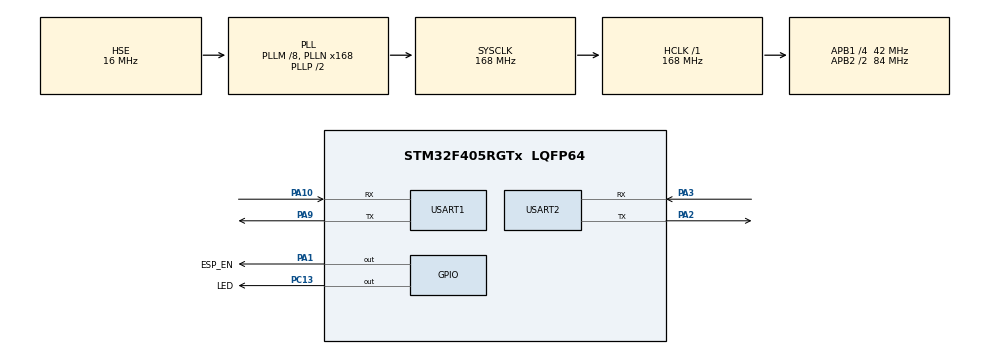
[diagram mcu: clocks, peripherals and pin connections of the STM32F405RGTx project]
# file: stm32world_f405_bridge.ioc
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Dma.Request0=USART1_RX
Dma.Request1=USART2_RX
Dma.USART1_RX.0.Direction=DMA_PERIPH_TO_MEMORY
Dma.USART1_RX.0.FIFOMode=DMA_FIFOMODE_DISABLE
Dma.USART1_RX.0.Instance=DMA2_Stream2
Dma.USART1_RX.0.MemDataAlignment=DMA_MDATAALIGN_BYTE
Dma.USART1_RX.0.MemInc=DMA_MINC_ENABLE
Dma.USART1_RX.0.Mode=DMA_CIRCULAR
Dma.USART1_RX.0.PeriphDataAlignment=DMA_PDATAALIGN_BYTE
Dma.USART1_RX.0.PeriphInc=DMA_PINC_DISABLE
Dma.USART1_RX.0.Priority=DMA_PRIORITY_LOW
Dma.USART2_RX.1.Direction=DMA_PERIPH_TO_MEMORY
Dma.USART2_RX.1.FIFOMode=DMA_FIFOMODE_DISABLE
Dma.USART2_RX.1.Instance=DMA1_Stream5
Dma.USART2_RX.1.MemDataAlignment=DMA_MDATAALIGN_BYTE
Dma.USART2_RX.1.MemInc=DMA_MINC_ENABLE
Dma.USART2_RX.1.Mode=DMA_CIRCULAR
Dma.USART2_RX.1.PeriphDataAlignment=DMA_PDATAALIGN_BYTE
Dma.USART2_RX.1.PeriphInc=DMA_PINC_DISABLE
Dma.USART2_RX.1.Priority=DMA_PRIORITY_LOW
Mcu.Family=STM32F4
Mcu.Name=STM32F405RGTx
Mcu.Package=LQFP64
NVIC.DMA1_Stream5_IRQn=true\:0\:0\:false\:false\:true\:false\:true\:true
NVIC.DMA2_Stream2_IRQn=true\:0\:0\:false\:false\:true\:false\:true\:true
NVIC.PriorityGroup=NVIC_PRIORITYGROUP_4
NVIC.USART1_IRQn=true\:0\:0\:false\:false\:true\:true\:true\:true
NVIC.USART2_IRQn=true\:0\:0\:false\:false\:true\:true\:true\:true
PA1.GPIO_Label=ESP_EN
PA1.Signal=GPIO_Output
PA10.Mode=Asynchronous
PA10.Signal=USART1_RX
PA13.Mode=Trace_Asynchronous_SW
PA13.Signal=SYS_JTMS-SWDIO
PA14.Mode=Trace_Asynchronous_SW
PA14.Signal=SYS_JTCK-SWCLK
PA2.Mode=Asynchronous
PA2.Signal=USART2_TX
PA3.Mode=Asynchronous
PA3.Signal=USART2_RX
PA9.Mode=Asynchronous
PA9.Signal=USART1_TX
PB3.Mode=Trace_Asynchronous_SW
PB3.Signal=SYS_JTDO-SWO
PC13-ANTI_TAMP.GPIO_Label=LED
PC13-ANTI_TAMP.GPIO_ModeDefaultOutputPP=GPIO_MODE_OUTPUT_OD
PC13-ANTI_TAMP.GPIO_PuPd=GPIO_NOPULL
PC13-ANTI_TAMP.PinState=GPIO_PIN_SET
PC13-ANTI_TAMP.Signal=GPIO_Output
PH0-OSC_IN.Mode=HSE-External-Oscillator
PH0-OSC_IN.Signal=RCC_OSC_IN
PH1-OSC_OUT.Mode=HSE-External-Oscillator
PH1-OSC_OUT.Signal=RCC_OSC_OUT
ProjectManager.HeapSize=0x200
ProjectManager.StackSize=0x400
ProjectManager.TargetToolchain=STM32CubeIDE
RCC.48MHZClocksFreq_Value=84000000
RCC.AHBFreq_Value=168000000
RCC.APB1CLKDivider=RCC_HCLK_DIV4
RCC.APB1Freq_Value=42000000
RCC.APB1TimFreq_Value=84000000
RCC.APB2CLKDivider=RCC_HCLK_DIV2
RCC.APB2Freq_Value=84000000
RCC.APB2TimFreq_Value=168000000
RCC.CortexFreq_Value=168000000
RCC.HCLKFreq_Value=168000000
RCC.HSE_VALUE=16000000
RCC.HSI_VALUE=16000000
RCC.LSE_VALUE=32768
RCC.PLLM=8
RCC.PLLN=168
RCC.PLLSourceVirtual=RCC_PLLSOURCE_HSE
RCC.SYSCLKFreq_VALUE=168000000
RCC.SYSCLKSource=RCC_SYSCLKSOURCE_PLLCLK
RCC.VCOOutputFreq_Value=336000000
USART1.VirtualMode=VM_ASYNC
USART2.VirtualMode=VM_ASYNC
board=custom

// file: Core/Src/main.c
/* USER CODE BEGIN Header */
/**
 ******************************************************************************
 * @file           : main.c
 * @brief          : Main program body
 ******************************************************************************
 * @attention
 *
 * Copyright (c) 2025 Lars Boegild Thomsen <lbthomsen@gmail.com>
 * All rights reserved.
 *
 * This software is licensed under terms that can be found in the LICENSE file
 * in the root directory of this software component.
 * If no LICENSE file comes with this software, it is provided AS-IS.
 *
 ******************************************************************************
 */
/* USER CODE END Header */
#include "main.h"

/* USER CODE BEGIN Includes */
#include <stdio.h>
/* USER CODE END Includes */

/* USER CODE BEGIN PD */
#define UART_RX_DMA_BUFFER_SIZE 64
/* USER CODE END PD */

UART_HandleTypeDef huart1;
UART_HandleTypeDef huart2;
DMA_HandleTypeDef hdma_usart1_rx;
DMA_HandleTypeDef hdma_usart2_rx;

/* USER CODE BEGIN PV */
uint8_t uart1_dma_buffer[UART_RX_DMA_BUFFER_SIZE];
uint8_t uart2_dma_buffer[UART_RX_DMA_BUFFER_SIZE];
/* USER CODE END PV */

void SystemClock_Config(void);
static void MX_GPIO_Init(void);
static void MX_DMA_Init(void);
static void MX_USART1_UART_Init(void);
static void MX_USART2_UART_Init(void);

/* USER CODE BEGIN 0 */

// Send stdout to USART1 and stderr to SWO
int _write(int fd, char *ptr, int len) {

    for (int i = 0; i < len; i++) {
        ITM_SendChar(ptr[i]); /* core_cm4.h */
    }
    return len;

}

/**
 * @brief  UART Event Callback.  Fired on idle or if dma buffer half full or full.
 * @param  huart  Pointer to a UART_HandleTypeDef structure that contains
 *                the configuration information for the specified UART module.
 * @param  offset A offset counter pointing to last valid character in DMA buffer.
 * @retval None
 */
void HAL_UARTEx_RxEventCallback(UART_HandleTypeDef *huart, uint16_t offset) {

    if (huart->Instance == USART1) {

        printf("RX1 %d\n", offset);

        static uint16_t last_offset = 0;

        // Ignore if called twice (which will happen on every half buffer)
        if (offset != last_offset) {

            // If wrap around reset last_size
            if (offset < last_offset)
                last_offset = 0;

            HAL_UART_Transmit(&huart2, &uart1_dma_buffer[last_offset], offset - last_offset, 100);
            last_offset = offset;

        }

    } else if (huart->Instance == USART2) {

        printf("RX2 %d\n", offset);

        static uint16_t last_offset = 0;

        // Ignore if called twice (which will happen on every half buffer)
        if (offset != last_offset) {

            // If wrap around reset last_size
            if (offset < last_offset)
                last_offset = 0;

            HAL_UART_Transmit(&huart2, &uart2_dma_buffer[last_offset], offset - last_offset, 100);
            last_offset = offset;

        }

    }

}

/* USER CODE END 0 */

int main(void)
{

    /* MCU Configuration--------------------------------------------------------*/

    /* Reset of all peripherals, Initializes the Flash interface and the Systick. */
    HAL_Init();

    /* Configure the system clock */
    SystemClock_Config();

    /* Initialize all configured peripherals */
    MX_GPIO_Init();
    MX_DMA_Init();
    MX_USART1_UART_Init();
    MX_USART2_UART_Init();
    /* USER CODE BEGIN 2 */

    printf("\n\n\nStarting Bridge\n");

    HAL_UARTEx_ReceiveToIdle_DMA(&huart1, (uint8_t*) &uart1_dma_buffer, UART_RX_DMA_BUFFER_SIZE);
    HAL_UARTEx_ReceiveToIdle_DMA(&huart2, (uint8_t*) &uart2_dma_buffer, UART_RX_DMA_BUFFER_SIZE);

    // Fire up the ESP-01s
    HAL_GPIO_WritePin(ESP_EN_GPIO_Port, ESP_EN_Pin, GPIO_PIN_SET);

    /* USER CODE END 2 */

    /* Infinite loop */
    /* USER CODE BEGIN WHILE */

    uint32_t now = 0, next_blink = 500;

    while (1) {

        now = uwTick;

        if (now >= next_blink) {
            HAL_GPIO_TogglePin(LED_GPIO_Port, LED_Pin);
            next_blink = now + 500;
        }

        /* USER CODE END WHILE */

    }
}

void SystemClock_Config(void)
{
    RCC_OscInitTypeDef RCC_OscInitStruct = { 0 };
    RCC_ClkInitTypeDef RCC_ClkInitStruct = { 0 };

    /** Configure the main internal regulator output voltage
     */
    __HAL_RCC_PWR_CLK_ENABLE();
    __HAL_PWR_VOLTAGESCALING_CONFIG(PWR_REGULATOR_VOLTAGE_SCALE1);

    /** Initializes the RCC Oscillators according to the specified parameters
     * in the RCC_OscInitTypeDef structure.
     */
    RCC_OscInitStruct.OscillatorType = RCC_OSCILLATORTYPE_HSE;
    RCC_OscInitStruct.HSEState = RCC_HSE_ON;
    RCC_OscInitStruct.PLL.PLLState = RCC_PLL_ON;
    RCC_OscInitStruct.PLL.PLLSource = RCC_PLLSOURCE_HSE;
    RCC_OscInitStruct.PLL.PLLM = 8;
    RCC_OscInitStruct.PLL.PLLN = 168;
    RCC_OscInitStruct.PLL.PLLP = RCC_PLLP_DIV2;
    RCC_OscInitStruct.PLL.PLLQ = 4;
    if (HAL_RCC_OscConfig(&RCC_OscInitStruct) != HAL_OK)
            {
        Error_Handler();
    }

    /** Initializes the CPU, AHB and APB buses clocks
     */
    RCC_ClkInitStruct.ClockType = RCC_CLOCKTYPE_HCLK | RCC_CLOCKTYPE_SYSCLK
            | RCC_CLOCKTYPE_PCLK1 | RCC_CLOCKTYPE_PCLK2;
    RCC_ClkInitStruct.SYSCLKSource = RCC_SYSCLKSOURCE_PLLCLK;
    RCC_ClkInitStruct.AHBCLKDivider = RCC_SYSCLK_DIV1;
    RCC_ClkInitStruct.APB1CLKDivider = RCC_HCLK_DIV4;
    RCC_ClkInitStruct.APB2CLKDivider = RCC_HCLK_DIV2;

    if (HAL_RCC_ClockConfig(&RCC_ClkInitStruct, FLASH_LATENCY_5) != HAL_OK)
            {
        Error_Handler();
    }
}

static void MX_USART1_UART_Init(void)
{

    huart1.Instance = USART1;
    huart1.Init.BaudRate = 115200;
    huart1.Init.WordLength = UART_WORDLENGTH_8B;
    huart1.Init.StopBits = UART_STOPBITS_1;
    huart1.Init.Parity = UART_PARITY_NONE;
    huart1.Init.Mode = UART_MODE_TX_RX;
    huart1.Init.HwFlowCtl = UART_HWCONTROL_NONE;
    huart1.Init.OverSampling = UART_OVERSAMPLING_16;
    if (HAL_UART_Init(&huart1) != HAL_OK)
            {
        Error_Handler();
    }

}

static void MX_USART2_UART_Init(void)
{

    huart2.Instance = USART2;
    huart2.Init.BaudRate = 115200;
    huart2.Init.WordLength = UART_WORDLENGTH_8B;
    huart2.Init.StopBits = UART_STOPBITS_1;
    huart2.Init.Parity = UART_PARITY_NONE;
    huart2.Init.Mode = UART_MODE_TX_RX;
    huart2.Init.HwFlowCtl = UART_HWCONTROL_NONE;
    huart2.Init.OverSampling = UART_OVERSAMPLING_16;
    if (HAL_UART_Init(&huart2) != HAL_OK)
            {
        Error_Handler();
    }

}

static void MX_DMA_Init(void)
{

    /* DMA controller clock enable */
    __HAL_RCC_DMA2_CLK_ENABLE();
    __HAL_RCC_DMA1_CLK_ENABLE();

    /* DMA interrupt init */
    /* DMA1_Stream5_IRQn interrupt configuration */
    HAL_NVIC_SetPriority(DMA1_Stream5_IRQn, 0, 0);
    HAL_NVIC_EnableIRQ(DMA1_Stream5_IRQn);
    /* DMA2_Stream2_IRQn interrupt configuration */
    HAL_NVIC_SetPriority(DMA2_Stream2_IRQn, 0, 0);
    HAL_NVIC_EnableIRQ(DMA2_Stream2_IRQn);

}

static void MX_GPIO_Init(void)
{
    GPIO_InitTypeDef GPIO_InitStruct = { 0 };

    /* GPIO Ports Clock Enable */
    __HAL_RCC_GPIOC_CLK_ENABLE();
    __HAL_RCC_GPIOH_CLK_ENABLE();
    __HAL_RCC_GPIOA_CLK_ENABLE();
    __HAL_RCC_GPIOB_CLK_ENABLE();

    /*Configure GPIO pin Output Level */
    HAL_GPIO_WritePin(LED_GPIO_Port, LED_Pin, GPIO_PIN_SET);

    /*Configure GPIO pin Output Level */
    HAL_GPIO_WritePin(ESP_EN_GPIO_Port, ESP_EN_Pin, GPIO_PIN_RESET);

    /*Configure GPIO pin : LED_Pin */
    GPIO_InitStruct.Pin = LED_Pin;
    GPIO_InitStruct.Mode = GPIO_MODE_OUTPUT_OD;
    GPIO_InitStruct.Pull = GPIO_NOPULL;
    GPIO_InitStruct.Speed = GPIO_SPEED_FREQ_LOW;
    HAL_GPIO_Init(LED_GPIO_Port, &GPIO_InitStruct);

    /*Configure GPIO pin : ESP_EN_Pin */
    GPIO_InitStruct.Pin = ESP_EN_Pin;
    GPIO_InitStruct.Mode = GPIO_MODE_OUTPUT_PP;
    GPIO_InitStruct.Pull = GPIO_NOPULL;
    GPIO_InitStruct.Speed = GPIO_SPEED_FREQ_LOW;
    HAL_GPIO_Init(ESP_EN_GPIO_Port, &GPIO_InitStruct);

}

void Error_Handler(void)
{
    __disable_irq();
    while (1)
    {
    }
}
